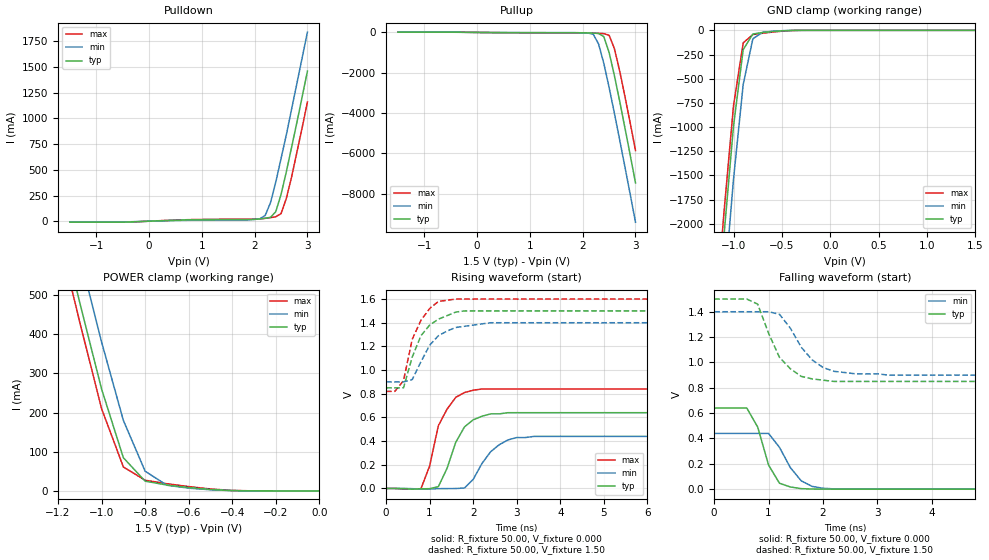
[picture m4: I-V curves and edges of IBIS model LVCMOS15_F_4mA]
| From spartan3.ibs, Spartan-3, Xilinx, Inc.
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[Model]   LVCMOS15_F_4mA
Model_type   I/O
Polarity   Non-Inverting
Enable   Active-Low
Vinl =   0.45V
Vinh =   1.05V
Vmeas =   0.90V
Cref =  0.000F
Rref =   1.00M
Vref =  0.000V
C_comp   6.38pF   4.60pF   8.23pF
[Temperature Range]   25.00   85.00   0.000
[Voltage Range]   1.50V   1.40V   1.60V
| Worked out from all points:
|   slope of the pulldown table from 0 to 0.225 V, typ, clamps not added: 50.3 ohm
|   slope of the pullup table from 0 to 0.225 V, typ, clamps not added: 42.2 ohm
|   GND clamp passes 1 mA (typ) near -0.39 V on its own axis
|   POWER clamp passes 1 mA (typ) near -0.41 V on its own axis
|   rising waveform, R_fixture 50.00, V_fixture 0.000: 20-80 % time 442ps typ, 523ps min, 427ps max; typ from 0 V to 0.64 V
|   rising waveform, R_fixture 50.00, V_fixture 1.50: 20-80 % time 478ps typ, 543ps min, 410ps max; typ from 0.85 V to 1.5 V
|   falling waveform, R_fixture 50.00, V_fixture 0.000: 20-80 % time 316ps typ, 397ps min, NA max; typ from 0.64 V to 0 V
|   falling waveform, R_fixture 50.00, V_fixture 1.50: 20-80 % time 455ps typ, 521ps min, NA max; typ from 1.5 V to 0.85 V
[Pulldown]
| voltage   I(typ)   I(min)   I(max)
-1.5V     -9.03mA    -7.3mA     -9.69mA
-400mV    -7.9mA     -6.07mA    -8.81mA
700mV     11.7mA     8.64mA     14.16mA
1.8V      15.66mA    11.96mA    19.36mA
2.1V      22.46mA    24.09mA    22.6mA
2.2V      28.45mA    56.11mA    27.81mA
2.3V      37.53mA    180mA      34.67mA
2.4V      92.3mA     380mA      43.05mA
2.5V      260mA      610mA      73.34mA
2.6V      480mA      840mA      220mA
2.7V      720mA      1.09A      430mA
3V        1.46A      1.84A      1.16A
[Pullup]
| voltage   I(typ)   I(min)   I(max)
-1.5V     14.6mA     11.26mA    16.95mA
1.9V      -16.08mA   -13.32mA   -22.04mA
2.1V      -25.43mA   -28.54mA   -27.32mA
2.2V      -34.52mA   -93.6mA    -35.54mA
2.3V      -49.83mA   -570mA     -46.31mA
2.4V      -210mA     -1.54A     -59.78mA
2.5V      -990mA     -2.73A     -140mA
2.6V      -2.14A     -4.01A     -800mA
2.7V      -3.41A     -5.33A     -1.91A
2.8V      -4.74A     -6.68A     -3.18A
3V        -7.47A     -9.42A     -5.86A
[GND_clamp]
| voltage   I(typ)   I(min)   I(max)
-1.5V     -7.46A     -8.04A     -7.23A
-1.2V     -3.41A     -4.01A     -3.17A
-1.1V     -2.14A     -2.73A     -1.9A
-1V       -990mA     -1.54A     -780mA
-900mV    -200mA     -560mA     -130mA
-800mV    -38.17mA   -87.3mA    -43.99mA
-700mV    -22.42mA   -20.38mA   -30.04mA
-500mV    -5.28mA    -4.03mA    -8.83mA
-300mV    -110uA     -110uA     -310uA
1.5V      9.56nA     570nA      9.91nA
[POWER_clamp]
| voltage   I(typ)   I(min)   I(max)
-1.5V     1.46A      1.59A      1.41A
-1.2V     710mA      840mA      660mA
-1.1V     480mA      600mA      430mA
-1V       260mA      380mA      210mA
-900mV    84.79mA    180mA      61.19mA
-800mV    24.88mA    50.29mA    27.26mA
-700mV    15.03mA    14.55mA    18.43mA
-600mV    8.66mA     7.1mA      11.09mA
-400mV    790uA      730uA      1.23mA
0V        9.56nA     48.83nA    13.86nA
[Ramp]
| variable   typ   min   max
dV/dt_r   0.38/0.42n   0.27/0.50n   0.50/0.36n
dV/dt_f   0.39/0.41n   0.30/0.48n   NA
R_load = 50.00
[Rising Waveform]
R_fixture = 50.00
V_fixture = 0.000
| time   V(typ)   V(min)   V(max)
0s        0V         1.89uV     0V
800ps     -3.3mV     -5.91mV    -2.95mV
1ns       -2.1mV     -3.62mV    190mV
1.2ns     14.99mV    -1.99mV    530mV
1.4ns     170mV      -1.31mV    670mV
1.6ns     390mV      -780uV     770mV
2ns       580mV      76.42mV    830mV
2.4ns     630mV      310mV      840mV
3ns       640mV      430mV      840mV
10ns      640mV      440mV      840mV
[Rising Waveform]
R_fixture = 50.00
V_fixture = 1.50
V_fixture_min = 1.40
V_fixture_max = 1.60
| time   V(typ)   V(min)   V(max)
0s        850mV      900mV      820mV
200ps     850mV      900mV      820mV
400ps     850mV      900mV      910mV
600ps     1.11V      920mV      1.26V
800ps     1.29V      1.07V      1.42V
1ns       1.38V      1.21V      1.52V
1.2ns     1.43V      1.29V      1.58V
1.6ns     1.49V      1.36V      1.6V
2.4ns     1.5V       1.4V       1.6V
10ns      1.5V       1.4V       1.6V
[Falling Waveform]
R_fixture = 50.00
V_fixture = 0.000
| time   V(typ)   V(min)   V(max)
0s        640mV      440mV      NA
600ps     640mV      440mV      NA
800ps     490mV      440mV      NA
1ns       190mV      440mV      NA
1.2ns     46.72mV    330mV      NA
1.4ns     17.37mV    170mV      NA
1.6ns     4.17mV     65.67mV    NA
1.8ns     960uV      21.82mV    NA
2.2ns     52.85uV    2.27mV     NA
10ns      690nV      1.91uV     NA
[Falling Waveform]
R_fixture = 50.00
V_fixture = 1.50
V_fixture_min = 1.40
V_fixture_max = 1.60
| time   V(typ)   V(min)   V(max)
0s        1.5V       1.4V       NA
600ps     1.5V       1.4V       NA
800ps     1.46V      1.4V       NA
1ns       1.23V      1.4V       NA
1.2ns     1.04V      1.38V      NA
1.6ns     890mV      1.12V      NA
1.8ns     870mV      1.02V      NA
2.2ns     850mV      930mV      NA
3.2ns     850mV      900mV      NA
10ns      850mV      900mV      NA
